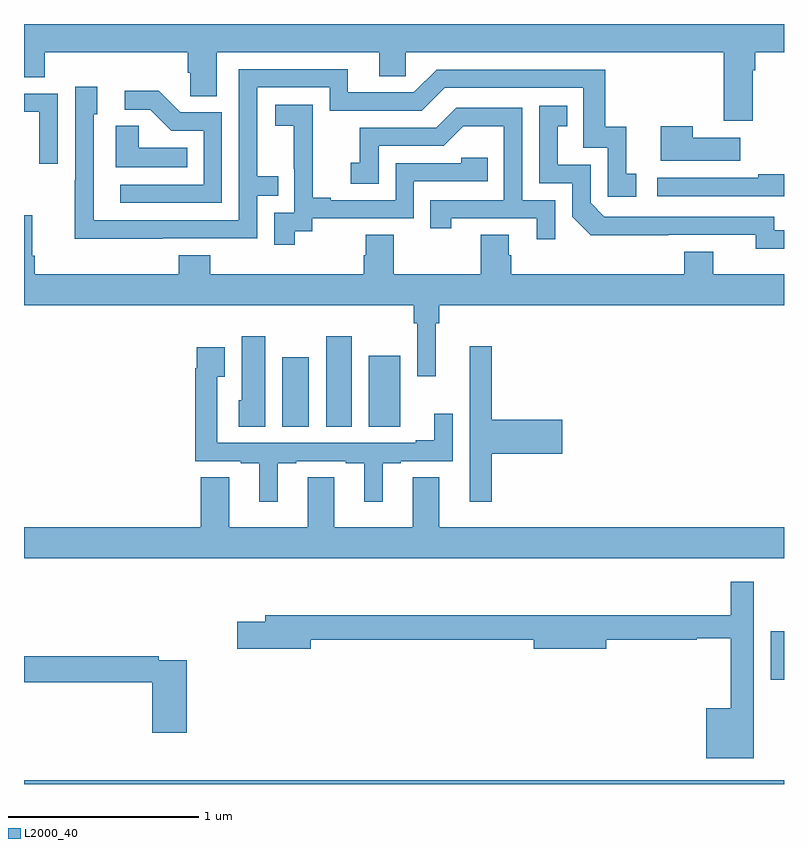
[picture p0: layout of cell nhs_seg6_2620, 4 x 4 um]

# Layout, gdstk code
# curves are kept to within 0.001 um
import gdstk
lib = gdstk.Library(unit=1e-6, precision=1e-09)
def R(c, l, rs):  # rectangles x0, y0, x1, y1
    for r in rs: c.add(gdstk.rectangle(r[:2], r[2:], *l))
def P(c, l, *ps):  # polygons
    for p in ps: c.add(gdstk.Polygon(p, *l))
L2000_40 = (2000, 40)

nhs_seg6_2620 = lib.new_cell('nhs_seg6_2620')
R(nhs_seg6_2620, L2000_40, [(267,927.5,271,927.52), (270.929,928.049,271,928.303), (268.358,929.38,268.498,929.746), (268.592,929.38,268.726,929.857), (268.814,929.38,268.981,929.755)])
P(nhs_seg6_2620, L2000_40, [(270.835,931.256),(270.848,931.256),(270.848,931.352),(271,931.352),(271,931.5),(267,931.5),(267,931.219),(267.11,931.219),(267.11,931.352),(267.863,931.352),(267.863,931.243),(267.876,931.243),(267.876,931.12),(268.015,931.12),(268.015,931.352),(268.871,931.352),(268.871,931.225),(269.01,931.225),(269.01,931.352),(270.683,931.352),(270.683,930.99),(270.835,930.99)],
  [(267.731,930.372),(268.227,930.372),(268.227,930.597),(268.337,930.597),(268.337,930.698),(268.227,930.698),(268.227,931.167),(268.608,931.167),(268.608,931.044),(269.094,931.044),(269.214,931.164),(269.943,931.164),(269.943,930.849),(270.072,930.849),(270.072,930.591),(270.223,930.591),(270.223,930.711),(270.17,930.711),(270.17,930.958),(270.059,930.958),(270.059,931.26),(269.172,931.26),(269.052,931.14),(268.705,931.14),(268.705,931.263),(268.131,931.263),(268.131,930.468),(267.366,930.468),(267.366,931.026),(267.385,931.026),(267.385,931.171),(267.27,931.171),(267.27,930.677),(267.268,930.677),(267.268,930.371)],
  [(268.041,931.035),(267.822,931.035),(267.709,931.148),(267.531,931.148),(267.531,931.05),(267.665,931.05),(267.776,930.939),(267.945,930.939),(267.945,930.654),(267.507,930.654),(267.507,930.558),(268.041,930.558)],
  [(267.177,931.134),(267,931.134),(267,931.038),(267.081,931.038),(267.081,930.765),(267.177,930.765)],
  [(268.426,930.409),(268.518,930.409),(268.518,930.477),(269.052,930.477),(269.052,930.672),(269.441,930.672),(269.441,930.795),(269.301,930.795),(269.301,930.768),(268.956,930.768),(268.956,930.573),(268.615,930.573),(268.615,930.586),(268.52,930.586),(268.52,930.869),(268.521,930.869),(268.521,931.075),(268.323,931.075),(268.323,930.965),(268.421,930.965),(268.421,930.737),(268.422,930.737),(268.422,930.507),(268.317,930.507),(268.317,930.339),(268.426,930.339)],
  [(271,930.414),(270.948,930.414),(270.948,930.486),(270.054,930.486),(269.982,930.558),(269.982,930.759),(269.809,930.759),(269.809,930.963),(269.858,930.963),(269.858,931.069),(269.712,931.069),(269.712,930.663),(269.886,930.663),(269.886,930.486),(269.984,930.389),(270.852,930.39),(270.852,930.317),(271,930.317)],
  [(269.796,930.573),(269.622,930.573),(269.622,931.059),(269.276,931.059),(269.171,930.954),(268.768,930.954),(268.768,930.769),(268.719,930.769),(268.719,930.66),(268.866,930.66),(268.866,930.858),(269.208,930.858),(269.312,930.962),(269.526,930.962),(269.526,930.573),(269.137,930.573),(269.137,930.426),(269.248,930.426),(269.248,930.477),(269.699,930.477),(269.699,930.366),(269.796,930.366)],
  [(267.86,930.85),(267.603,930.85),(267.603,930.965),(267.482,930.965),(267.482,930.746),(267.86,930.746)],
  [(270.769,930.901),(270.521,930.901),(270.521,930.961),(270.35,930.961),(270.35,930.779),(270.769,930.779)],
  [(271,930.71),(270.865,930.71),(270.865,930.69),(270.333,930.69),(270.333,930.594),(271,930.594)],
  [(268.947,930.392),(268.799,930.392),(268.799,930.282),(268.787,930.282),(268.787,930.184),(267.98,930.184),(267.98,930.283),(267.815,930.283),(267.815,930.184),(267.056,930.184),(267.056,930.28),(267.043,930.28),(267.043,930.493),(267,930.493),(267,930.02),(269.05,930.02),(269.05,929.924),(269.07,929.924),(269.07,929.646),(269.168,929.646),(269.168,929.924),(269.186,929.924),(269.186,930.02),(271,930.02),(271,930.184),(270.628,930.184),(270.628,930.301),(270.476,930.301),(270.476,930.184),(269.564,930.184),(269.564,930.282),(269.551,930.282),(269.551,930.392),(269.404,930.392),(269.404,930.184),(268.947,930.184)],
  [(268.27,929.857),(268.145,929.857),(268.145,929.52),(268.13,929.52),(268.13,929.38),(268.27,929.38)],
  [(269.462,929.239),(269.833,929.239),(269.833,929.417),(269.462,929.417),(269.462,929.803),(269.345,929.803),(269.345,929.5),(269.346,929.5),(269.346,928.986),(269.462,928.986)],
  [(268.336,929.187),(268.432,929.187),(268.432,929.199),(268.694,929.199),(268.694,929.187),(268.79,929.187),(268.79,928.986),(268.888,928.986),(268.888,929.187),(268.984,929.187),(268.984,929.199),(269.256,929.199),(269.256,929.449),(269.159,929.449),(269.159,929.308),(269.063,929.308),(269.063,929.295),(268.017,929.295),(268.017,929.644),(268.057,929.644),(268.057,929.8),(267.909,929.8),(267.909,929.687),(267.901,929.687),(267.901,929.199),(268.142,929.199),(268.142,929.187),(268.238,929.187),(268.238,928.986),(268.336,928.986)],
  [(271,928.852),(269.185,928.852),(269.185,929.114),(269.045,929.114),(269.045,928.852),(268.633,928.852),(268.633,929.114),(268.493,929.114),(268.493,928.852),(268.081,928.852),(268.081,929.114),(267.929,929.114),(267.929,928.852),(267,928.852),(267,928.688),(271,928.688)],
  [(270.841,928.564),(270.72,928.564),(270.72,928.387),(268.271,928.387),(268.271,928.353),(268.122,928.353),(268.122,928.211),(268.51,928.211),(268.51,928.258),(269.684,928.258),(269.684,928.211),(270.064,928.211),(270.064,928.258),(270.541,928.258),(270.541,928.266),(270.72,928.266),(270.72,927.898),(270.59,927.898),(270.59,927.635),(270.841,927.635)],
  [(267.857,928.152),(267.71,928.152),(267.71,928.172),(267,928.172),(267,928.036),(267.674,928.036),(267.674,927.771),(267.857,927.771)])

lib.write_gds('nhs_seg6_2620.gds')
